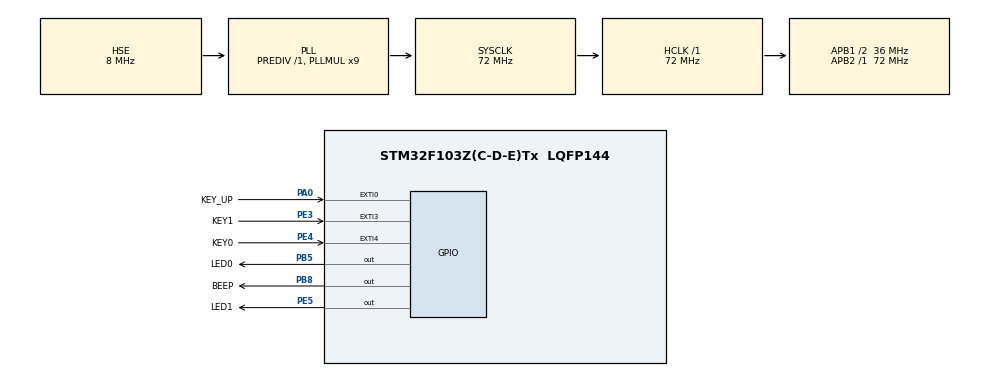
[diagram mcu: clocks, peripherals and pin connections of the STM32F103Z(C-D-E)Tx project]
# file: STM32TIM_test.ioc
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Mcu.Family=STM32F1
Mcu.Name=STM32F103Z(C-D-E)Tx
Mcu.Package=LQFP144
NVIC.EXTI0_IRQn=true\:0\:0\:true\:false\:true\:true\:true\:true
NVIC.EXTI3_IRQn=true\:0\:0\:true\:false\:true\:true\:true\:true
NVIC.EXTI4_IRQn=true\:0\:0\:true\:false\:true\:true\:true\:true
NVIC.PriorityGroup=NVIC_PRIORITYGROUP_4
NVIC.TIM6_IRQn=true\:0\:0\:false\:false\:true\:true\:true\:true
OSC_IN.Mode=HSE-External-Oscillator
OSC_IN.Signal=RCC_OSC_IN
OSC_OUT.Mode=HSE-External-Oscillator
OSC_OUT.Signal=RCC_OSC_OUT
PA0-WKUP.GPIO_Label=KEY_UP
PA0-WKUP.GPIO_ModeDefaultEXTI=GPIO_MODE_IT_FALLING
PA0-WKUP.GPIO_PuPd=GPIO_PULLDOWN
PA0-WKUP.Signal=GPXTI0
PA13.Mode=Serial_Wire
PA13.Signal=SYS_JTMS-SWDIO
PA14.Mode=Serial_Wire
PA14.Signal=SYS_JTCK-SWCLK
PB5.GPIO_Label=LED0
PB5.GPIO_PuPd=GPIO_NOPULL
PB5.Signal=GPIO_Output
PB8.GPIO_Label=BEEP
PB8.Signal=GPIO_Output
PC14-OSC32_IN.Mode=LSE-External-Oscillator
PC14-OSC32_IN.Signal=RCC_OSC32_IN
PC15-OSC32_OUT.Mode=LSE-External-Oscillator
PC15-OSC32_OUT.Signal=RCC_OSC32_OUT
PE3.GPIO_Label=KEY1
PE3.GPIO_ModeDefaultEXTI=GPIO_MODE_IT_FALLING
PE3.GPIO_PuPd=GPIO_PULLUP
PE3.Signal=GPXTI3
PE4.GPIO_Label=KEY0
PE4.GPIO_ModeDefaultEXTI=GPIO_MODE_IT_FALLING
PE4.GPIO_PuPd=GPIO_PULLUP
PE4.Signal=GPXTI4
PE5.GPIO_Label=LED1
PE5.Signal=GPIO_Output
ProjectManager.HeapSize=0x200
ProjectManager.StackSize=0x400
ProjectManager.TargetToolchain=MDK-ARM V5
RCC.AHBFreq_Value=72000000
RCC.APB1CLKDivider=RCC_HCLK_DIV2
RCC.APB1Freq_Value=36000000
RCC.APB1TimFreq_Value=72000000
RCC.APB2Freq_Value=72000000
RCC.APB2TimFreq_Value=72000000
RCC.HCLKFreq_Value=72000000
RCC.PLLMUL=RCC_PLL_MUL9
RCC.PLLSourceVirtual=RCC_PLLSOURCE_HSE
RCC.SYSCLKFreq_VALUE=72000000
RCC.SYSCLKSource=RCC_SYSCLKSOURCE_PLLCLK
RCC.USBFreq_Value=72000000
TIM6.Period=100-1
TIM6.Prescaler=72-1
VP_TIM6_VS_ClockSourceINT.Mode=Enable_Timer
board=custom

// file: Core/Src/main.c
/* USER CODE BEGIN Header */
/**
  ******************************************************************************
  * @file           : main.c
  * @brief          : Main program body
  ******************************************************************************
  * @attention
  *
  * Copyright (c) 2025 STMicroelectronics.
  * All rights reserved.
  *
  * This software is licensed under terms that can be found in the LICENSE file
  * in the root directory of this software component.
  * If no LICENSE file comes with this software, it is provided AS-IS.
  *
  ******************************************************************************
  */
/* USER CODE END Header */
#include "main.h"

/* USER CODE BEGIN PD */
#define LED0_GPIO        GPIOB, GPIO_PIN_5
#define LED0_Toggle      HAL_GPIO_TogglePin(LED0_GPIO)
#define LED0_OFF         HAL_GPIO_WritePin(LED0_GPIO, GPIO_PIN_SET)
#define LED0_ON          HAL_GPIO_WritePin(LED0_GPIO, GPIO_PIN_RESET)

#define LED1_GPIO        GPIOE, GPIO_PIN_5
#define LED1_Toggle      HAL_GPIO_TogglePin(LED1_GPIO)
#define LED1_OFF         HAL_GPIO_WritePin(LED1_GPIO, GPIO_PIN_SET)
#define LED1_ON          HAL_GPIO_WritePin(LED1_GPIO, GPIO_PIN_RESET)

#define BEEP_GPIO        GPIOB, GPIO_PIN_8
#define BEEP_Toggle      HAL_GPIO_TogglePin(BEEP_GPIO)
#define BEEP_OFF         HAL_GPIO_WritePin(BEEP_GPIO, GPIO_PIN_RESET)
#define BEEP_ON          HAL_GPIO_WritePin(BEEP_GPIO, GPIO_PIN_SET)

#define KEY0_GPIO_PIN    GPIO_PIN_4
#define KEY0             HAL_GPIO_ReadPin(GPIOE, KEY0_GPIO_PIN)
#define KEY0_OFF         GPIO_PIN_RESET
#define KEY0_ON          GPIO_PIN_SET

#define KEY1_GPIO_PIN    GPIO_PIN_3
#define KEY1             HAL_GPIO_ReadPin(GPIOE, KEY1_GPIO_PIN)
#define KEY1_OFF         GPIO_PIN_RESET
#define KEY1_ON          GPIO_PIN_SET

#define KEY_UP_GPIO_PIN    GPIO_PIN_0
#define KEY_UP             HAL_GPIO_ReadPin(GPIOA, KEY_UP_GPIO_PIN)
#define KEY_UP_OFF         GPIO_PIN_SET
#define KEY_UP_ON          GPIO_PIN_RESET

/* USER CODE END PD */

TIM_HandleTypeDef htim6;

void SystemClock_Config(void);
static void MX_GPIO_Init(void);
static void MX_TIM6_Init(void);

int main(void)
{

  /* MCU Configuration--------------------------------------------------------*/

  /* Reset of all peripherals, Initializes the Flash interface and the Systick. */
  HAL_Init();

  /* Configure the system clock */
  SystemClock_Config();

  /* Initialize all configured peripherals */
  MX_GPIO_Init();
  MX_TIM6_Init();
  /* USER CODE BEGIN 2 */
  LED0_OFF;
  LED1_OFF;
  BEEP_OFF;

  /* USER CODE END 2 */

  /* Infinite loop */
  while (1)
  {

  }
}

void SystemClock_Config(void)
{
  RCC_OscInitTypeDef RCC_OscInitStruct = {0};
  RCC_ClkInitTypeDef RCC_ClkInitStruct = {0};

  /** Initializes the RCC Oscillators according to the specified parameters
  * in the RCC_OscInitTypeDef structure.
  */
  RCC_OscInitStruct.OscillatorType = RCC_OSCILLATORTYPE_HSE;
  RCC_OscInitStruct.HSEState = RCC_HSE_ON;
  RCC_OscInitStruct.HSEPredivValue = RCC_HSE_PREDIV_DIV1;
  RCC_OscInitStruct.HSIState = RCC_HSI_ON;
  RCC_OscInitStruct.PLL.PLLState = RCC_PLL_ON;
  RCC_OscInitStruct.PLL.PLLSource = RCC_PLLSOURCE_HSE;
  RCC_OscInitStruct.PLL.PLLMUL = RCC_PLL_MUL9;
  if (HAL_RCC_OscConfig(&RCC_OscInitStruct) != HAL_OK)
  {
    Error_Handler();
  }

  /** Initializes the CPU, AHB and APB buses clocks
  */
  RCC_ClkInitStruct.ClockType = RCC_CLOCKTYPE_HCLK|RCC_CLOCKTYPE_SYSCLK
                              |RCC_CLOCKTYPE_PCLK1|RCC_CLOCKTYPE_PCLK2;
  RCC_ClkInitStruct.SYSCLKSource = RCC_SYSCLKSOURCE_PLLCLK;
  RCC_ClkInitStruct.AHBCLKDivider = RCC_SYSCLK_DIV1;
  RCC_ClkInitStruct.APB1CLKDivider = RCC_HCLK_DIV2;
  RCC_ClkInitStruct.APB2CLKDivider = RCC_HCLK_DIV1;

  if (HAL_RCC_ClockConfig(&RCC_ClkInitStruct, FLASH_LATENCY_2) != HAL_OK)
  {
    Error_Handler();
  }
}

static void MX_TIM6_Init(void)
{

  TIM_MasterConfigTypeDef sMasterConfig = {0};

  htim6.Instance = TIM6;
  htim6.Init.Prescaler = 72-1;
  htim6.Init.CounterMode = TIM_COUNTERMODE_UP;
  htim6.Init.Period = 100-1;
  htim6.Init.AutoReloadPreload = TIM_AUTORELOAD_PRELOAD_DISABLE;
  if (HAL_TIM_Base_Init(&htim6) != HAL_OK)
  {
    Error_Handler();
  }
  sMasterConfig.MasterOutputTrigger = TIM_TRGO_RESET;
  sMasterConfig.MasterSlaveMode = TIM_MASTERSLAVEMODE_DISABLE;
  if (HAL_TIMEx_MasterConfigSynchronization(&htim6, &sMasterConfig) != HAL_OK)
  {
    Error_Handler();
  }

}

static void MX_GPIO_Init(void)
{
  GPIO_InitTypeDef GPIO_InitStruct = {0};

  /* GPIO Ports Clock Enable */
  __HAL_RCC_GPIOE_CLK_ENABLE();
  __HAL_RCC_GPIOC_CLK_ENABLE();
  __HAL_RCC_GPIOA_CLK_ENABLE();
  __HAL_RCC_GPIOB_CLK_ENABLE();

  /*Configure GPIO pin Output Level */
  HAL_GPIO_WritePin(LED1_GPIO_Port, LED1_Pin, GPIO_PIN_RESET);

  /*Configure GPIO pin Output Level */
  HAL_GPIO_WritePin(GPIOB, LED0_Pin|BEEP_Pin, GPIO_PIN_RESET);

  /*Configure GPIO pins : KEY1_Pin KEY0_Pin */
  GPIO_InitStruct.Pin = KEY1_Pin|KEY0_Pin;
  GPIO_InitStruct.Mode = GPIO_MODE_IT_FALLING;
  GPIO_InitStruct.Pull = GPIO_PULLUP;
  HAL_GPIO_Init(GPIOE, &GPIO_InitStruct);

  /*Configure GPIO pin : LED1_Pin */
  GPIO_InitStruct.Pin = LED1_Pin;
  GPIO_InitStruct.Mode = GPIO_MODE_OUTPUT_PP;
  GPIO_InitStruct.Pull = GPIO_NOPULL;
  GPIO_InitStruct.Speed = GPIO_SPEED_FREQ_LOW;
  HAL_GPIO_Init(LED1_GPIO_Port, &GPIO_InitStruct);

  /*Configure GPIO pin : KEY_UP_Pin */
  GPIO_InitStruct.Pin = KEY_UP_Pin;
  GPIO_InitStruct.Mode = GPIO_MODE_IT_FALLING;
  GPIO_InitStruct.Pull = GPIO_PULLDOWN;
  HAL_GPIO_Init(KEY_UP_GPIO_Port, &GPIO_InitStruct);

  /*Configure GPIO pins : LED0_Pin BEEP_Pin */
  GPIO_InitStruct.Pin = LED0_Pin|BEEP_Pin;
  GPIO_InitStruct.Mode = GPIO_MODE_OUTPUT_PP;
  GPIO_InitStruct.Pull = GPIO_NOPULL;
  GPIO_InitStruct.Speed = GPIO_SPEED_FREQ_LOW;
  HAL_GPIO_Init(GPIOB, &GPIO_InitStruct);

  /* EXTI interrupt init*/
  HAL_NVIC_SetPriority(EXTI0_IRQn, 0, 0);
  HAL_NVIC_EnableIRQ(EXTI0_IRQn);

  HAL_NVIC_SetPriority(EXTI3_IRQn, 0, 0);
  HAL_NVIC_EnableIRQ(EXTI3_IRQn);

  HAL_NVIC_SetPriority(EXTI4_IRQn, 0, 0);
  HAL_NVIC_EnableIRQ(EXTI4_IRQn);

}

/* USER CODE BEGIN 4 */
/* 中断回调函数 */
void HAL_GPIO_EXTI_Callback (uint16_t GPIO_Pin)
{
    if ( (GPIO_Pin == KEY0_GPIO_PIN) || (GPIO_Pin == KEY1_GPIO_PIN)
		|| (GPIO_Pin == KEY_UP_GPIO_PIN) )
	{
		HAL_TIM_Base_Start_IT(&htim6);  // 20ms计时器启动
	}
}

void HAL_TIM_PeriodElapsedCallback(TIM_HandleTypeDef *htim)
{
  if(htim == (&htim6))
  {
       HAL_TIM_Base_Stop_IT(&htim6);  // 20ms计时器关闭
       if(KEY0 == KEY0_ON)
			LED0_Toggle;
	   else if(KEY1 == KEY1_ON)
			LED1_Toggle;
	   else if(KEY_UP == KEY_UP_ON)
			BEEP_Toggle;
  }
}

/* USER CODE END 4 */

void Error_Handler(void)
{
  __disable_irq();
  while (1)
  {
  }
}
